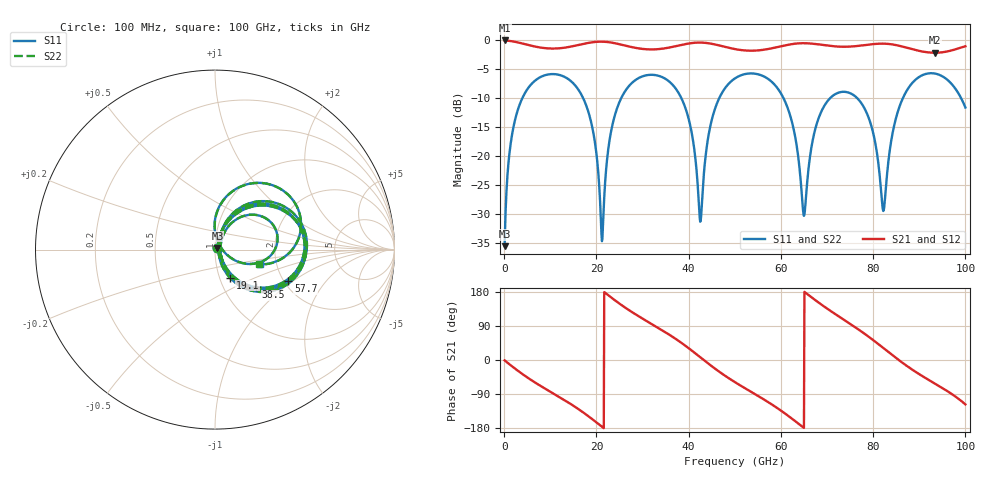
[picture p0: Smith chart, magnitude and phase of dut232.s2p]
! Touchstone file exported from HFSS 2026.1.0
!  File:  C:/ffzhzh/LocalFiles/Ansys_Project_Files/temp_train_TSV_RDL_232_1783665088_33328.aedt
!  Generated:  02:40:41 PM Jul 10, 2026
!  Design:  TSV_RDL
!  Project:  temp_train_TSV_RDL_232_1783665088_33328
! Variables:
!  h_bsmrdl = 2.49um
!  h_ox = 20um
!  h_rdl = 5um
!  h_sub = 99.05um
!  h_tmrdl = 4.22um
!  h_tsv = 99.05um
!  h_via = 3um
!  l_bsmrdl = 434.54um
!  l_sub = 2559.63um
!  l_tmrdl = 181.67um
!  m_sub = 200um
!  pitch = 49.1um
!  r_tsv = 6.33um
!  s_tmrdl = 10um
!  w_bsmrdl = 24.05um
!  w_sub = 500um
!  w_tmrdl = 19.06um
!  x_tsv_center1 = 191.2um
!  x_tsv_center2 = 649.79um
!  x_tsv_center3 = 850.52um
!  x_tsv_center4 = 1309.11um
!  x_tsv_center5 = 1509.84um
!  x_tsv_center6 = 1968.43um
# GHz S MA R 50.000000
! Terminal data exported
! Port[1] = TM_RDL1_1_T1
! Port[2] = TM_RDL5_1_T1
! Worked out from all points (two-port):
!   1000 points, 100 MHz to 100 GHz, reference 50 ohm
!   highest |S21| = -0.12 dB at 100 MHz (marker M1); lowest = -2.2 dB at 93.4 GHz (marker M2)
!   |S21| within 3 dB of the highest: start of sweep to end of sweep
!   lowest |S11| = -35.5 dB at 100 MHz (marker M3), VSWR 1.03, Z = 51.4 + j0.985 ohm
!   |S11| at or under -10 dB: 17.1 GHz to 25.41 GHz (8.304 GHz wide, 39.1 % of centre); 60.54 GHz to 70.73 GHz (10.19 GHz wide, 15.5 % of centre); 76.49 GHz to 86.47 GHz (9.98 GHz wide, 12.2 % of centre) (the widest 3 of 6)
!   |S22| runs from -35.5 to -5.8 dB; largest |S21 - S12| = 5.2e-10
!   S11 on the Smith chart (normalised r, x): 100 MHz: 1.03, +0.02; 19.1 GHz: 1.12, -0.36; 38.5 GHz: 1.41, -0.66; 57.7 GHz: 2.11, -0.93; 100 GHz: 1.63, -0.29
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0.1  0.01678 34.8  0.9864 -1.0  0.9864 -1.0  0.01678 34.8
! Gamma 0 0 0 0
! Port Impedance 50 0 50 0
1.6  0.1434 67.2  0.9719 -15.6  0.9719 -15.6  0.1434 67.2
4.6  0.3529 44.1  0.9148 -42.6  0.9148 -42.6  0.3529 44.1
16.8  0.3342 -44.6  0.9146 -135.4  0.9146 -135.4  0.3343 -44.6
19.1  0.1772 -62.0  0.9514 -156.1  0.9514 -156.1  0.1772 -62.0
21.3  0.01942 20.4  0.9626 -177.0  0.9626 -177.0  0.01951 20.2
24.8  0.2786 56.0  0.9193 150.5  0.9193 150.5  0.2786 56.0
33.4  0.4909 -5.6  0.8306 84.8  0.8306 84.8  0.4909 -5.6
38.5  0.31 -42.5  0.9041 44.6  0.9041 44.6  0.31 -42.6
42.6  0.02752 16.2  0.9459 6.5  0.9459 6.5  0.02712 16.2
45.2  0.2184 64.4  0.9203 -18.1  0.9203 -18.1  0.2183 64.5
50.1  0.4671 28.8  0.8304 -58.9  0.8304 -58.9  0.467 28.8
57.7  0.4458 -23.4  0.8396 -114.7  0.8396 -114.7  0.4457 -23.3
62.3  0.2031 -56.4  0.9165 -153.9  0.9165 -153.9  0.203 -56.4
64.9  0.03153 -12.7  0.9342 -178.3  0.9342 -178.3  0.03126 -12.8
66.7  0.1242 61.0  0.9267 164.9  0.9267 164.9  0.1241 61.1
75.8  0.3334 -0.1  0.8779 89.0  0.8779 89.0  0.3335 0.1
82.1  0.03484 17.0  0.9261 32.7  0.9261 32.7  0.03578 17.3
83.4  0.09689 89.9  0.9199 20.2  0.9199 20.2  0.09718 89.4
87  0.3484 72.2  0.8606 -13.0  0.8606 -13.0  0.3484 72.0
93.4  0.5121 23.0  0.7735 -62.3  0.7735 -62.3  0.5121 22.9
100  0.2614 -18.3  0.8794 -117.2  0.8794 -117.2  0.2611 -18.5
